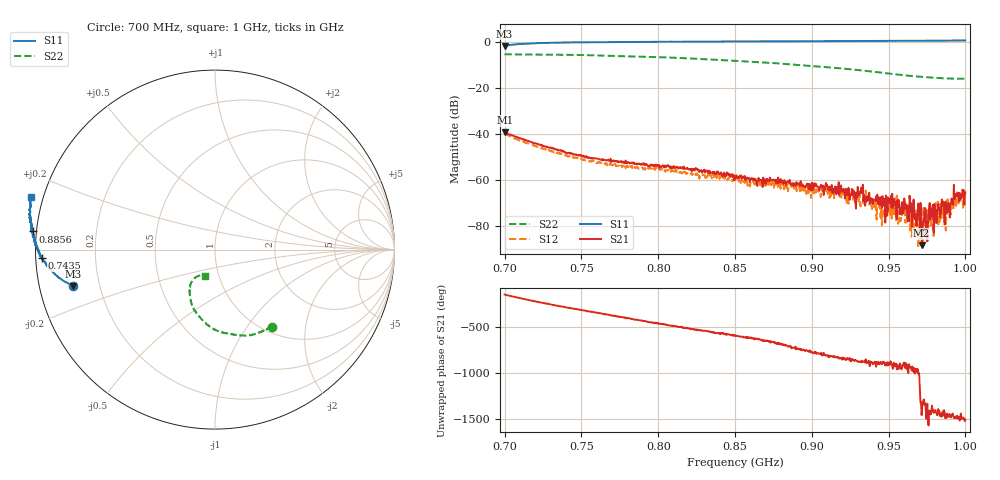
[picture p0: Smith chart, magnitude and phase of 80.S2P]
! C:\Users\rflab\Downloads\Lab5_KD_ZW\Q2\728 MHz\80.S2P
! Touchstone 1.1 file saved by VNA.EXE V1.65 (www.ke5fx.com/gpib/readme.htm)
! 11/18/2024 9:13:15 PM
!  Source: HEWLETT PACKARD,8753D,0,6.14
!  Min freq: 7.000000E+008 Hz
!  Max freq: 1.000000E+009 Hz
!  Points: 801
!  Params: S11 S21 S12 S22
# GHZ S MA R 50
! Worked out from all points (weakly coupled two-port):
!   801 points, 700 MHz to 1 GHz, reference 50 ohm
!   highest |S21| = -39.32 dB at 700.4 MHz (marker M1); lowest = -88.2 dB at 971.5 MHz (marker M2)
!   lowest |S11| = -1.8 dB at 700 MHz (marker M3), VSWR 9.79, Z = 5.19 - j6.25 ohm
!   |S11| at or under -10 dB: nowhere
!   |S22| runs from -16.0 to -5.4 dB; largest |S21 - S12| = 0.0035
!   S11 on the Smith chart (normalised r, x): 700 MHz: 0.10, -0.13; 743.5 MHz: 0.02, -0.02; 885.6 MHz: -0.01, +0.05; 1 GHz: -0.03, +0.14
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0.7  0.8147 -165.6  0.01078 -150.3  0.01013 -169.0  0.5339 -53.7
0.700375  0.8201 -165.8  0.01082 -152.1  0.01017 -171.0  0.5336 -53.8
0.7435  0.966 -177.2  0.00385 61.0  0.003188 41.7  0.5181 -65.9
0.75025  0.9719 -177.9  0.003344 42.0  0.002835 22.6  0.5134 -68.3
0.800125  0.9979 178.5  0.002154 -104.4  0.001828 -122.6  0.4621 -85.1
0.85  1.015 176.0  0.001135 122.6  0.001024 113.3  0.3866 -102.6
0.885625  1.02 174.3  0.001013 4.7  0.000731 -7.2  0.3243 -114.2
0.90025  1.026 173.7  0.000883 -59.3  0.000553 -59.7  0.2972 -117.9
0.928  1.033 172.1  0.000547 -141.5  0.0004 -158.7  0.2476 -124.1
0.93175  1.035 171.7  0.000531 -156.7  0.00027 -165.8  0.2402 -124.9
0.936625  1.04 171.4  0.000455 -154.1  0.000403 -179.4  0.2308 -125.5
0.946375  1.044 170.4  0.00029 -157.9  0.000189 160.4  0.2114 -126.1
0.950125  1.049 170.3  0.000373 165.4  0.00022 164.9  0.2047 -125.9
0.95725  1.048 169.8  0.000183 -177.2  0.00013 140.4  0.1922 -125.2
0.96025  1.049 169.3  0.0004 -168.5  0.000263 126.8  0.1876 -124.9
0.965125  1.051 169.2  9.8e-05 102.6  5.9e-05 44.9  0.1807 -123.8
0.9715  1.053 168.5  3.9e-05 -18.7  0.000175 126.9  0.1733 -122.2
0.978625  1.055 167.8  0.000283 24.3  0.000117 -28.8  0.1666 -120.3
0.988  1.061 166.1  0.000197 -2.3  0.00017 -43.9  0.1601 -116.8
0.994  1.064 165.3  0.000506 -31.7  0.000275 -69.0  0.1579 -114.3
0.996625  1.065 164.8  0.000427 -57.3  0.000355 -57.8  0.1577 -113.1
1  1.065 164.1  0.000542 -64.4  0.000303 -65.2  0.1583 -111.6
